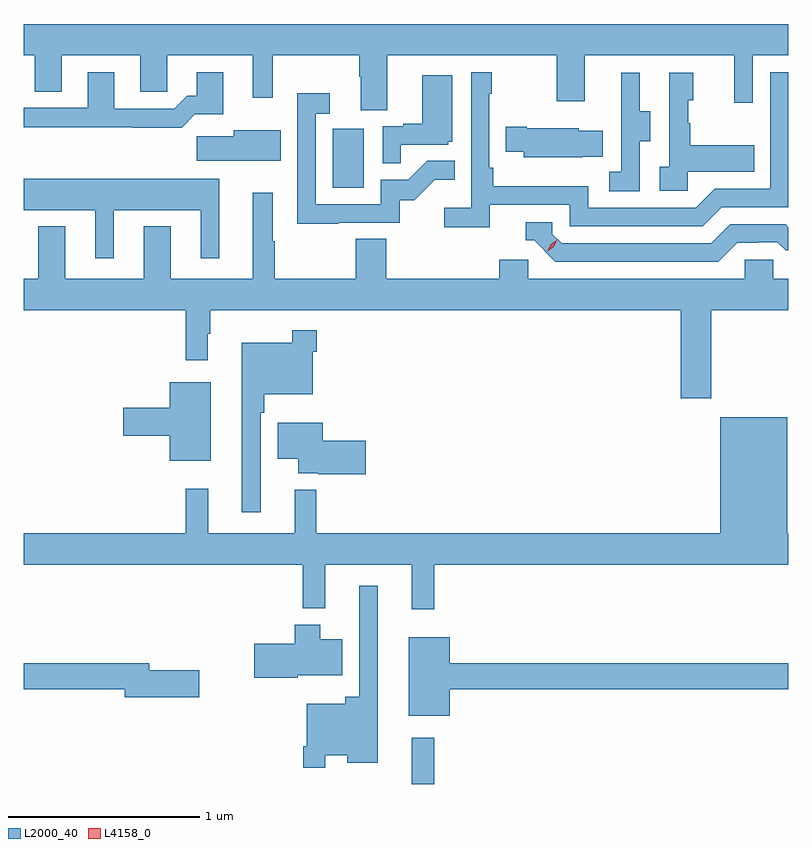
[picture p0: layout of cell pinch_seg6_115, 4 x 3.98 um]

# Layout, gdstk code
import gdstk
lib = gdstk.Library(unit=1e-6, precision=1e-09)
def R(c, l, rs):  # rectangles x0, y0, x1, y1
    for r in rs: c.add(gdstk.rectangle(r[:2], r[2:], *l))
def P(c, l, *ps):  # polygons
    for p in ps: c.add(gdstk.Polygon(p, *l))
L2000_40 = (2000, 40)
L4158_0 = (4158, 0)

pinch_seg6_115 = lib.new_cell('pinch_seg6_115')
R(pinch_seg6_115, L2000_40, [(965.822,930.205,965.939,930.448), (965.408,933.324,965.572,933.631)])
P(pinch_seg6_115, L2000_40, [(965.695,934.016),(966.58,934.016),(966.58,933.777),(966.727,933.777),(966.727,934.016),(967.508,934.016),(967.508,933.768),(967.605,933.768),(967.605,934.016),(967.792,934.016),(967.792,934.18),(963.792,934.18),(963.792,934.016),(963.851,934.016),(963.851,933.826),(963.991,933.826),(963.991,934.016),(964.403,934.016),(964.403,933.826),(964.542,933.826),(964.542,934.016),(964.991,934.016),(964.991,933.795),(965.095,933.795),(965.095,934.016),(965.548,934.016),(965.548,933.904),(965.555,933.904),(965.555,933.73),(965.695,933.73)],
  [(964.688,933.707),(964.837,933.707),(964.837,933.928),(964.697,933.928),(964.697,933.805),(964.648,933.805),(964.581,933.738),(964.267,933.738),(964.267,933.928),(964.127,933.928),(964.127,933.741),(963.792,933.741),(963.792,933.64),(964.363,933.64),(964.363,933.638),(964.619,933.638)],
  [(966.23,933.234),(966.648,933.234),(966.648,933.123),(967.345,933.123),(967.444,933.222),(967.792,933.222),(967.792,933.927),(967.698,933.927),(967.698,933.318),(967.407,933.318),(967.308,933.219),(966.744,933.219),(966.744,933.331),(966.248,933.331),(966.248,933.427),(966.228,933.427),(966.228,933.815),(966.241,933.815),(966.241,933.928),(966.132,933.928),(966.132,933.22),(965.991,933.22),(965.991,933.118),(966.23,933.118)],
  [(967.014,933.568),(967.069,933.568),(967.069,933.723),(967.015,933.723),(967.015,933.925),(966.917,933.925),(966.917,933.711),(966.918,933.711),(966.918,933.407),(966.855,933.407),(966.855,933.304),(967.014,933.304)],
  [(967.266,933.407),(967.613,933.407),(967.613,933.547),(967.279,933.547),(967.279,933.662),(967.269,933.662),(967.269,933.78),(967.294,933.78),(967.294,933.925),(967.17,933.925),(967.17,933.434),(967.119,933.434),(967.119,933.309),(967.266,933.309)],
  [(965.765,933.549),(966.012,933.549),(966.012,933.564),(966.034,933.564),(966.034,933.913),(965.876,933.913),(965.876,933.658),(965.777,933.658),(965.777,933.645),(965.67,933.645),(965.67,933.451),(965.765,933.451)],
  [(965.441,933.141),(965.76,933.141),(965.76,933.258),(965.836,933.258),(965.943,933.365),(966.047,933.365),(966.047,933.464),(965.903,933.464),(965.805,933.366),(965.661,933.366),(965.661,933.237),(965.319,933.237),(965.319,933.711),(965.392,933.711),(965.392,933.817),(965.223,933.817),(965.223,933.136),(965.441,933.136)],
  [(966.713,933.485),(966.821,933.485),(966.821,933.622),(966.696,933.622),(966.696,933.634),(966.424,933.634),(966.424,933.642),(966.313,933.642),(966.313,933.512),(966.407,933.512),(966.407,933.482),(966.713,933.482)],
  [(965.137,933.625),(964.892,933.625),(964.892,933.593),(964.698,933.593),(964.698,933.464),(965.137,933.464)],
  [(964.264,933.206),(964.718,933.206),(964.718,932.955),(964.816,932.955),(964.816,933.37),(963.792,933.37),(963.792,933.206),(964.166,933.206),(964.166,932.955),(964.264,932.955)],
  [(967.389,932.684),(967.792,932.684),(967.792,932.848),(967.713,932.848),(967.713,932.946),(967.563,932.946),(967.563,932.848),(966.432,932.848),(966.432,932.946),(966.281,932.946),(966.281,932.848),(965.69,932.848),(965.69,933.056),(965.53,933.056),(965.53,932.848),(965.105,932.848),(965.105,933.044),(965.095,933.044),(965.095,933.298),(964.991,933.298),(964.991,932.848),(964.561,932.848),(964.561,933.121),(964.421,933.121),(964.421,932.848),(964.009,932.848),(964.009,933.121),(963.869,933.121),(963.869,932.848),(963.792,932.848),(963.792,932.684),(964.639,932.684),(964.639,932.421),(964.756,932.421),(964.756,932.561),(964.768,932.561),(964.768,932.684),(967.229,932.684),(967.229,932.223),(967.389,932.223)],
  [(967.525,933.036),(967.632,933.036),(967.632,933.039),(967.735,933.039),(967.777,932.997),(967.792,932.997),(967.792,933.117),(967.777,933.132),(967.488,933.132),(967.389,933.033),(966.606,933.033),(966.558,933.081),(966.558,933.144),(966.419,933.144),(966.419,933.048),(966.462,933.048),(966.573,932.937),(967.426,932.937)],
  [(965.031,932.147),(965.051,932.147),(965.051,932.243),(965.304,932.243),(965.304,932.465),(965.324,932.465),(965.324,932.578),(965.196,932.578),(965.196,932.512),(964.934,932.512),(964.934,931.626),(965.031,931.626)],
  [(964.771,932.305),(964.556,932.305),(964.556,932.174),(964.314,932.174),(964.314,932.027),(964.556,932.027),(964.556,931.895),(964.771,931.895)],
  [(965.939,931.352),(967.792,931.352),(967.792,931.516),(967.786,931.516),(967.786,932.122),(967.436,932.122),(967.436,931.516),(965.322,931.516),(965.322,931.744),(965.21,931.744),(965.21,931.516),(964.757,931.516),(964.757,931.75),(964.639,931.75),(964.639,931.516),(963.792,931.516),(963.792,931.352),(965.251,931.352),(965.251,931.124),(965.369,931.124),(965.369,931.352),(965.822,931.352),(965.822,931.119),(965.939,931.119)],
  [(965.581,932),(965.356,932),(965.356,932.095),(965.12,932.095),(965.12,931.907),(965.228,931.907),(965.228,931.829),(965.332,931.829),(965.332,931.824),(965.581,931.824)],
  [(965.37,930.356),(965.486,930.356),(965.486,930.317),(965.644,930.317),(965.644,931.243),(965.547,931.243),(965.547,930.661),(965.474,930.661),(965.474,930.625),(965.274,930.625),(965.274,930.403),(965.254,930.403),(965.254,930.291),(965.37,930.291)],
  [(965.226,930.773),(965.458,930.773),(965.458,930.961),(965.344,930.961),(965.344,931.039),(965.21,931.039),(965.21,930.939),(964.998,930.939),(964.998,930.761),(965.226,930.761)],
  [(966.022,930.7),(967.792,930.7),(967.792,930.836),(966.022,930.836),(966.022,930.973),(965.807,930.973),(965.807,930.563),(966.022,930.563)],
  [(964.711,930.8),(964.45,930.8),(964.45,930.836),(963.792,930.836),(963.792,930.7),(964.322,930.7),(964.322,930.658),(964.711,930.658)])
P(pinch_seg6_115, L4158_0, [(966.534,932.995),(966.534,932.995),(966.55,933.028),(966.58,933.048),(966.58,933.048),(966.58,933.048),(966.565,933.015),(966.535,932.995)])

lib.write_gds('pinch_seg6_115.gds')
